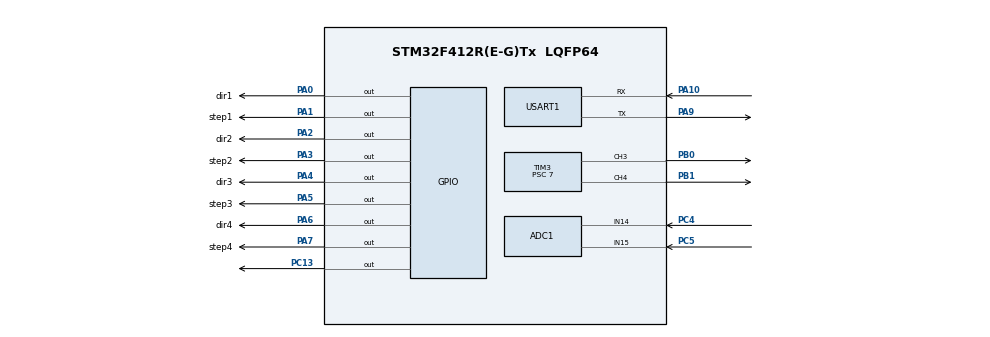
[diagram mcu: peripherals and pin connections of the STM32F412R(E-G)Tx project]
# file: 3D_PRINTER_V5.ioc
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ADC1.Channel-0\#ChannelRegularConversion=ADC_CHANNEL_14
ADC1.ContinuousConvMode=ENABLE
ADC1.NbrOfConversionFlag=1
ADC1.Rank-0\#ChannelRegularConversion=1
ADC1.SamplingTime-0\#ChannelRegularConversion=ADC_SAMPLETIME_3CYCLES
ADC1.master=1
Mcu.Family=STM32F4
Mcu.Name=STM32F412R(E-G)Tx
Mcu.Package=LQFP64
NVIC.PriorityGroup=NVIC_PRIORITYGROUP_4
NVIC.TIM1_UP_TIM10_IRQn=true\:0\:0\:false\:false\:true\:true\:true\:true
NVIC.TIM4_IRQn=true\:1\:0\:true\:false\:true\:true\:true\:true
NVIC.USART1_IRQn=true\:0\:0\:false\:false\:true\:true\:true\:true
PA0.GPIO_Label=dir1
PA0.Signal=GPIO_Output
PA1.GPIO_Label=step1
PA1.Signal=GPIO_Output
PA10.Mode=Asynchronous
PA10.Signal=USART1_RX
PA13.Mode=Serial_Wire
PA13.Signal=SYS_JTMS-SWDIO
PA14.Mode=Serial_Wire
PA14.Signal=SYS_JTCK-SWCLK
PA2.GPIO_Label=dir2
PA2.Signal=GPIO_Output
PA3.GPIO_Label=step2
PA3.Signal=GPIO_Output
PA4.GPIO_Label=dir3
PA4.Signal=GPIO_Output
PA5.GPIO_Label=step3
PA5.Signal=GPIO_Output
PA6.GPIO_Label=dir4
PA6.Signal=GPIO_Output
PA7.GPIO_Label=step4
PA7.Signal=GPIO_Output
PA9.Mode=Asynchronous
PA9.Signal=USART1_TX
PB0.Signal=S_TIM3_CH3
PB1.Signal=S_TIM3_CH4
PC13.Signal=GPIO_Output
PC4.Signal=ADCx_IN14
PC5.Signal=ADCx_IN15
ProjectManager.HeapSize=0x200
ProjectManager.StackSize=0x400
ProjectManager.TargetToolchain=MDK-ARM V5.32
RCC.CortexFreq_Value=16000000
RCC.USBFreq_Value=96000000
RCC.VCOOutputFreq_Value=192000000
SH.ADCx_IN14.0=ADC1_IN14,IN14
SH.ADCx_IN15.0=ADC1_IN15,IN15
SH.S_TIM3_CH3.0=TIM3_CH3,PWM Generation3 CH3
SH.S_TIM3_CH4.0=TIM3_CH4,PWM Generation4 CH4
TIM1.Period=50
TIM1.Prescaler=15
TIM2.Prescaler=15
TIM3.Channel-PWM\ Generation3\ CH3=TIM_CHANNEL_3
TIM3.Channel-PWM\ Generation4\ CH4=TIM_CHANNEL_4
TIM3.Period=100
TIM3.Prescaler=7
TIM4.Period=25000
TIM4.Prescaler=160-1
USART1.VirtualMode=VM_ASYNC
VP_TIM1_VS_ClockSourceINT.Mode=Internal
VP_TIM2_VS_ClockSourceINT.Mode=Internal
VP_TIM3_VS_ClockSourceINT.Mode=Internal
VP_TIM4_VS_ClockSourceINT.Mode=Internal
board=custom

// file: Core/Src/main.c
/* USER CODE BEGIN Header */
/**
  ******************************************************************************
  * @file           : main.c
  * @brief          : Main program body
  ******************************************************************************
  * @attention
  *
  * Copyright (c) 2025 STMicroelectronics.
  * All rights reserved.
  *
  * This software is licensed under terms that can be found in the LICENSE file
  * in the root directory of this software component.
  * If no LICENSE file comes with this software, it is provided AS-IS.
  *
  ******************************************************************************
  */
/* USER CODE END Header */
#include "main.h"

/* USER CODE BEGIN Includes */
#include <stdint.h>
#include "gcode.h"
#include "noisuy.h"
#include <math.h>
#include "hotend_control.h"

/* USER CODE END Includes */

ADC_HandleTypeDef hadc1;

TIM_HandleTypeDef htim1;
TIM_HandleTypeDef htim2;
TIM_HandleTypeDef htim3;
TIM_HandleTypeDef htim4;

UART_HandleTypeDef huart1;

void SystemClock_Config(void);
static void MX_GPIO_Init(void);
static void MX_ADC1_Init(void);
static void MX_TIM1_Init(void);
static void MX_TIM2_Init(void);
static void MX_TIM3_Init(void);
static void MX_TIM4_Init(void);
static void MX_USART1_UART_Init(void);

int main(void)
{

  /* MCU Configuration--------------------------------------------------------*/

  /* Reset of all peripherals, Initializes the Flash interface and the Systick. */
  HAL_Init();

  /* Configure the system clock */
  SystemClock_Config();

  /* Initialize all configured peripherals */
  MX_GPIO_Init();
  MX_ADC1_Init();
  MX_TIM1_Init();
  MX_TIM2_Init();
  MX_TIM3_Init();
  MX_TIM4_Init();
  MX_USART1_UART_Init();
  /* USER CODE BEGIN 2 */
  HAL_TIM_Base_Start(&htim2);
  TIM1->DIER |= 1<<0;
	HAL_TIM_Base_Start_IT(&htim1);
	HAL_TIM_Base_Start(&htim2);
	huart1.Instance->CR1 |= 1<<5;
	TIM4->DIER |= 1<<0;
	HAL_TIM_Base_Start_IT(&htim4);
	HAL_TIM_Base_Start(&htim4);
	TIM4->DIER |= 1<<0;
	HAL_TIM_Base_Start_IT(&htim4);
	HAL_TIM_PWM_Start(&htim3, TIM_CHANNEL_3);
	HAL_TIM_PWM_Start(&htim3, TIM_CHANNEL_4);
	TIM3->CCR3 = 60;
	TIM3->CCR4 = 60;
	HAL_TIM_Base_Start(&htim3);
	LowPassFilter_Init(&filterTempHotend, 0.1f); // H? s? alpha = 0.1 (m?n hon)
	LowPassFilter_Init(&filterTempHedbed, 0.1f);
	uint8_t flag = 0;
//	MOVE_Z(0,5,0.000625, 600);
	DDA_LINE(0,0, 0,5, BLU, 400.0/60.0, 0, BLU_E);
	drawCircleCW(0,5, 0,5,0,-5,BLU,400.0/60.0, 0, BLU_E);
	G_FLAG = G_FLAG_NONE;
	TIM3->CCR3 = 200;
  /* USER CODE END 2 */
  /* Infinite loop */
  while (1)
  {
    /* USER CODE BEGIN 3 */
		if(G_FLAG == G_FLAG_G0){
			MOVE_Z(current_step3*BLU_Z, Z, BLU_Z, 2);
			HAL_Delay(1000);
		  DDA_LINE(current_step1*BLU, current_step2*BLU, X, Y, BLU,F/60.0, 0, BLU_E);
		  G_FLAG = G_FLAG_NONE;
		  uint8_t tmp[24] = "G_CODE_NONE\n";
		  HAL_UART_Transmit(&huart1, tmp, 24, 1000);

		 }
   if(G_FLAG == G_FLAG_G1){
		  DDA_LINE(current_step1*BLU, current_step2*BLU, X, Y, BLU,F/60.0, E, BLU_E);
		  G_FLAG = G_FLAG_NONE;
		  uint8_t tmp[24] = "G_CODE_NONE\n";
		  HAL_UART_Transmit(&huart1, tmp, 24, 1000);
		 }
	 if(G_FLAG == G_FLAG_G2){
		  drawCircleCW(current_step1*BLU, current_step2*BLU, X, Y, I, J, BLU, F/60.0, E, BLU_E);
		  G_FLAG = G_FLAG_NONE;
		  uint8_t tmp[24] = "G_CODE_NONE\n";
		  HAL_UART_Transmit(&huart1, tmp, 24, 1000);
		 }
	  if(G_FLAG == G_FLAG_G3){
		 drawCircleCCW(current_step1*BLU, current_step2*BLU, X, Y, I, J, BLU, F/60.0, E, BLU_E);
			G_FLAG = G_FLAG_NONE;
			uint8_t tmp[24] = "G_CODE_NONE\n";
		  HAL_UART_Transmit(&huart1, tmp, 24, 1000);
			}
		if(G_FLAG == G_COMAND_MOVE_X){
			setpoint1 = round(X/BLU);
			G_FLAG = G_FLAG_NONE;
		}
		if(G_FLAG == G_COMAND_MOVE_Y){
			setpoint2 = round(Y/BLU);
			G_FLAG = G_FLAG_NONE;
		}
		if(G_FLAG == G_COMAND_MOVE_Z){
			setpoint3 = round(Z/BLU_Z);
			G_FLAG = G_FLAG_NONE;
		}
		if(G_FLAG == G_COMAND_MOVE_E){
			MOVE_Extruder(BLU_E, E, F/60.0);
			G_FLAG = G_FLAG_NONE;
		}
		if(G_FLAG == G_COMMAND_M109){
			while(TempHotend < setTempHotend);
			uint8_t tmp[24] = "G_CODE_NONE\n";
		  HAL_UART_Transmit(&huart1, tmp, 24, 1000);
			G_FLAG = G_FLAG_NONE;
			}
		if(G_FLAG == G_COMMAND_M190){
			while(TempHedbed < setTempHedbed);
			uint8_t tmp[24] = "G_CODE_NONE\n";
		  HAL_UART_Transmit(&huart1, tmp, 24, 1000);
			G_FLAG = G_FLAG_NONE;
			}
  }
  /* USER CODE END 3 */
}

void SystemClock_Config(void)
{
  RCC_OscInitTypeDef RCC_OscInitStruct = {0};
  RCC_ClkInitTypeDef RCC_ClkInitStruct = {0};

  /** Configure the main internal regulator output voltage
  */
  __HAL_RCC_PWR_CLK_ENABLE();
  __HAL_PWR_VOLTAGESCALING_CONFIG(PWR_REGULATOR_VOLTAGE_SCALE1);

  /** Initializes the RCC Oscillators according to the specified parameters
  * in the RCC_OscInitTypeDef structure.
  */
  RCC_OscInitStruct.OscillatorType = RCC_OSCILLATORTYPE_HSI;
  RCC_OscInitStruct.HSIState = RCC_HSI_ON;
  RCC_OscInitStruct.HSICalibrationValue = RCC_HSICALIBRATION_DEFAULT;
  RCC_OscInitStruct.PLL.PLLState = RCC_PLL_NONE;
  if (HAL_RCC_OscConfig(&RCC_OscInitStruct) != HAL_OK)
  {
    Error_Handler();
  }

  /** Initializes the CPU, AHB and APB buses clocks
  */
  RCC_ClkInitStruct.ClockType = RCC_CLOCKTYPE_HCLK|RCC_CLOCKTYPE_SYSCLK
                              |RCC_CLOCKTYPE_PCLK1|RCC_CLOCKTYPE_PCLK2;
  RCC_ClkInitStruct.SYSCLKSource = RCC_SYSCLKSOURCE_HSI;
  RCC_ClkInitStruct.AHBCLKDivider = RCC_SYSCLK_DIV1;
  RCC_ClkInitStruct.APB1CLKDivider = RCC_HCLK_DIV1;
  RCC_ClkInitStruct.APB2CLKDivider = RCC_HCLK_DIV1;

  if (HAL_RCC_ClockConfig(&RCC_ClkInitStruct, FLASH_LATENCY_0) != HAL_OK)
  {
    Error_Handler();
  }
}

static void MX_ADC1_Init(void)
{

  ADC_ChannelConfTypeDef sConfig = {0};

  /** Configure the global features of the ADC (Clock, Resolution, Data Alignment and number of conversion)
  */
  hadc1.Instance = ADC1;
  hadc1.Init.ClockPrescaler = ADC_CLOCK_SYNC_PCLK_DIV2;
  hadc1.Init.Resolution = ADC_RESOLUTION_12B;
  hadc1.Init.ScanConvMode = DISABLE;
  hadc1.Init.ContinuousConvMode = ENABLE;
  hadc1.Init.DiscontinuousConvMode = DISABLE;
  hadc1.Init.ExternalTrigConvEdge = ADC_EXTERNALTRIGCONVEDGE_NONE;
  hadc1.Init.ExternalTrigConv = ADC_SOFTWARE_START;
  hadc1.Init.DataAlign = ADC_DATAALIGN_RIGHT;
  hadc1.Init.NbrOfConversion = 1;
  hadc1.Init.DMAContinuousRequests = DISABLE;
  hadc1.Init.EOCSelection = ADC_EOC_SINGLE_CONV;
  if (HAL_ADC_Init(&hadc1) != HAL_OK)
  {
    Error_Handler();
  }

  /** Configure for the selected ADC regular channel its corresponding rank in the sequencer and its sample time.
  */
  sConfig.Channel = ADC_CHANNEL_14;
  sConfig.Rank = 1;
  sConfig.SamplingTime = ADC_SAMPLETIME_3CYCLES;
  if (HAL_ADC_ConfigChannel(&hadc1, &sConfig) != HAL_OK)
  {
    Error_Handler();
  }

}

static void MX_TIM1_Init(void)
{

  TIM_ClockConfigTypeDef sClockSourceConfig = {0};
  TIM_MasterConfigTypeDef sMasterConfig = {0};

  htim1.Instance = TIM1;
  htim1.Init.Prescaler = 15;
  htim1.Init.CounterMode = TIM_COUNTERMODE_UP;
  htim1.Init.Period = 50;
  htim1.Init.ClockDivision = TIM_CLOCKDIVISION_DIV1;
  htim1.Init.RepetitionCounter = 0;
  htim1.Init.AutoReloadPreload = TIM_AUTORELOAD_PRELOAD_DISABLE;
  if (HAL_TIM_Base_Init(&htim1) != HAL_OK)
  {
    Error_Handler();
  }
  sClockSourceConfig.ClockSource = TIM_CLOCKSOURCE_INTERNAL;
  if (HAL_TIM_ConfigClockSource(&htim1, &sClockSourceConfig) != HAL_OK)
  {
    Error_Handler();
  }
  sMasterConfig.MasterOutputTrigger = TIM_TRGO_RESET;
  sMasterConfig.MasterSlaveMode = TIM_MASTERSLAVEMODE_DISABLE;
  if (HAL_TIMEx_MasterConfigSynchronization(&htim1, &sMasterConfig) != HAL_OK)
  {
    Error_Handler();
  }

}

static void MX_TIM2_Init(void)
{

  TIM_ClockConfigTypeDef sClockSourceConfig = {0};
  TIM_MasterConfigTypeDef sMasterConfig = {0};

  htim2.Instance = TIM2;
  htim2.Init.Prescaler = 15;
  htim2.Init.CounterMode = TIM_COUNTERMODE_UP;
  htim2.Init.Period = 4294967295;
  htim2.Init.ClockDivision = TIM_CLOCKDIVISION_DIV1;
  htim2.Init.AutoReloadPreload = TIM_AUTORELOAD_PRELOAD_DISABLE;
  if (HAL_TIM_Base_Init(&htim2) != HAL_OK)
  {
    Error_Handler();
  }
  sClockSourceConfig.ClockSource = TIM_CLOCKSOURCE_INTERNAL;
  if (HAL_TIM_ConfigClockSource(&htim2, &sClockSourceConfig) != HAL_OK)
  {
    Error_Handler();
  }
  sMasterConfig.MasterOutputTrigger = TIM_TRGO_RESET;
  sMasterConfig.MasterSlaveMode = TIM_MASTERSLAVEMODE_DISABLE;
  if (HAL_TIMEx_MasterConfigSynchronization(&htim2, &sMasterConfig) != HAL_OK)
  {
    Error_Handler();
  }

}

static void MX_TIM3_Init(void)
{

  TIM_ClockConfigTypeDef sClockSourceConfig = {0};
  TIM_MasterConfigTypeDef sMasterConfig = {0};
  TIM_OC_InitTypeDef sConfigOC = {0};

  htim3.Instance = TIM3;
  htim3.Init.Prescaler = 7;
  htim3.Init.CounterMode = TIM_COUNTERMODE_UP;
  htim3.Init.Period = 1000;
  htim3.Init.ClockDivision = TIM_CLOCKDIVISION_DIV1;
  htim3.Init.AutoReloadPreload = TIM_AUTORELOAD_PRELOAD_DISABLE;
  if (HAL_TIM_Base_Init(&htim3) != HAL_OK)
  {
    Error_Handler();
  }
  sClockSourceConfig.ClockSource = TIM_CLOCKSOURCE_INTERNAL;
  if (HAL_TIM_ConfigClockSource(&htim3, &sClockSourceConfig) != HAL_OK)
  {
    Error_Handler();
  }
  if (HAL_TIM_PWM_Init(&htim3) != HAL_OK)
  {
    Error_Handler();
  }
  sMasterConfig.MasterOutputTrigger = TIM_TRGO_RESET;
  sMasterConfig.MasterSlaveMode = TIM_MASTERSLAVEMODE_DISABLE;
  if (HAL_TIMEx_MasterConfigSynchronization(&htim3, &sMasterConfig) != HAL_OK)
  {
    Error_Handler();
  }
  sConfigOC.OCMode = TIM_OCMODE_PWM1;
  sConfigOC.Pulse = 0;
  sConfigOC.OCPolarity = TIM_OCPOLARITY_HIGH;
  sConfigOC.OCFastMode = TIM_OCFAST_DISABLE;
  if (HAL_TIM_PWM_ConfigChannel(&htim3, &sConfigOC, TIM_CHANNEL_3) != HAL_OK)
  {
    Error_Handler();
  }
  if (HAL_TIM_PWM_ConfigChannel(&htim3, &sConfigOC, TIM_CHANNEL_4) != HAL_OK)
  {
    Error_Handler();
  }
  HAL_TIM_MspPostInit(&htim3);

}

static void MX_TIM4_Init(void)
{

  TIM_ClockConfigTypeDef sClockSourceConfig = {0};
  TIM_MasterConfigTypeDef sMasterConfig = {0};

  htim4.Instance = TIM4;
  htim4.Init.Prescaler = 160-1;
  htim4.Init.CounterMode = TIM_COUNTERMODE_UP;
  htim4.Init.Period = 25000;
  htim4.Init.ClockDivision = TIM_CLOCKDIVISION_DIV1;
  htim4.Init.AutoReloadPreload = TIM_AUTORELOAD_PRELOAD_DISABLE;
  if (HAL_TIM_Base_Init(&htim4) != HAL_OK)
  {
    Error_Handler();
  }
  sClockSourceConfig.ClockSource = TIM_CLOCKSOURCE_INTERNAL;
  if (HAL_TIM_ConfigClockSource(&htim4, &sClockSourceConfig) != HAL_OK)
  {
    Error_Handler();
  }
  sMasterConfig.MasterOutputTrigger = TIM_TRGO_RESET;
  sMasterConfig.MasterSlaveMode = TIM_MASTERSLAVEMODE_DISABLE;
  if (HAL_TIMEx_MasterConfigSynchronization(&htim4, &sMasterConfig) != HAL_OK)
  {
    Error_Handler();
  }

}

static void MX_USART1_UART_Init(void)
{

  huart1.Instance = USART1;
  huart1.Init.BaudRate = 115200;
  huart1.Init.WordLength = UART_WORDLENGTH_8B;
  huart1.Init.StopBits = UART_STOPBITS_1;
  huart1.Init.Parity = UART_PARITY_NONE;
  huart1.Init.Mode = UART_MODE_TX_RX;
  huart1.Init.HwFlowCtl = UART_HWCONTROL_NONE;
  huart1.Init.OverSampling = UART_OVERSAMPLING_16;
  if (HAL_UART_Init(&huart1) != HAL_OK)
  {
    Error_Handler();
  }

}

static void MX_GPIO_Init(void)
{
  GPIO_InitTypeDef GPIO_InitStruct = {0};

  /* GPIO Ports Clock Enable */
  __HAL_RCC_GPIOC_CLK_ENABLE();
  __HAL_RCC_GPIOA_CLK_ENABLE();
  __HAL_RCC_GPIOB_CLK_ENABLE();

  /*Configure GPIO pin Output Level */
  HAL_GPIO_WritePin(GPIOC, GPIO_PIN_13, GPIO_PIN_RESET);

  /*Configure GPIO pin Output Level */
  HAL_GPIO_WritePin(GPIOA, dir1_Pin|step1_Pin|dir2_Pin|step2_Pin
                          |dir3_Pin|step3_Pin|dir4_Pin|step4_Pin, GPIO_PIN_RESET);

  /*Configure GPIO pin : PC13 */
  GPIO_InitStruct.Pin = GPIO_PIN_13;
  GPIO_InitStruct.Mode = GPIO_MODE_OUTPUT_PP;
  GPIO_InitStruct.Pull = GPIO_NOPULL;
  GPIO_InitStruct.Speed = GPIO_SPEED_FREQ_LOW;
  HAL_GPIO_Init(GPIOC, &GPIO_InitStruct);

  /*Configure GPIO pins : dir1_Pin step1_Pin dir2_Pin step2_Pin
                           dir3_Pin step3_Pin dir4_Pin step4_Pin */
  GPIO_InitStruct.Pin = dir1_Pin|step1_Pin|dir2_Pin|step2_Pin
                          |dir3_Pin|step3_Pin|dir4_Pin|step4_Pin;
  GPIO_InitStruct.Mode = GPIO_MODE_OUTPUT_PP;
  GPIO_InitStruct.Pull = GPIO_NOPULL;
  GPIO_InitStruct.Speed = GPIO_SPEED_FREQ_LOW;
  HAL_GPIO_Init(GPIOA, &GPIO_InitStruct);

}

void Error_Handler(void)
{
  __disable_irq();
  while (1)
  {
  }
}
